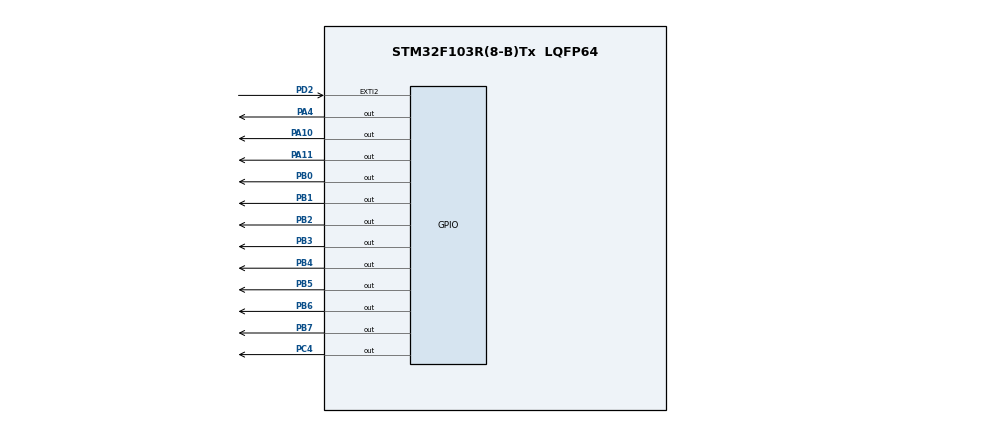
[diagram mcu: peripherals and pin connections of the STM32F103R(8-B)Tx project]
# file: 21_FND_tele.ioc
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Mcu.Family=STM32F1
Mcu.Name=STM32F103R(8-B)Tx
Mcu.Package=LQFP64
NVIC.EXTI2_IRQn=true\:0\:0\:false\:false\:true\:true\:true\:true
NVIC.PriorityGroup=NVIC_PRIORITYGROUP_4
PA10.Signal=GPIO_Output
PA11.Signal=GPIO_Output
PA13.Mode=Serial_Wire
PA13.Signal=SYS_JTMS-SWDIO
PA14.Mode=Serial_Wire
PA14.Signal=SYS_JTCK-SWCLK
PA4.Signal=GPIO_Output
PB0.Signal=GPIO_Output
PB1.Signal=GPIO_Output
PB2.Signal=GPIO_Output
PB3.Signal=GPIO_Output
PB4.Signal=GPIO_Output
PB5.Signal=GPIO_Output
PB6.Signal=GPIO_Output
PB7.Signal=GPIO_Output
PC4.Signal=GPIO_Output
PD2.GPIO_ModeDefaultEXTI=GPIO_MODE_IT_FALLING
PD2.Signal=GPXTI2
ProjectManager.HeapSize=0x200
ProjectManager.StackSize=0x400
ProjectManager.TargetToolchain=STM32CubeIDE
RCC.APB1Freq_Value=8000000
RCC.APB2Freq_Value=8000000
board=custom

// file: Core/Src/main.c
/* USER CODE BEGIN Header */
/**
  ******************************************************************************
  * @file           : main.c
  * @brief          : Main program body
  ******************************************************************************
  * @attention
  *
  * Copyright (c) 2023 STMicroelectronics.
  * All rights reserved.
  *
  * This software is licensed under terms that can be found in the LICENSE file
  * in the root directory of this software component.
  * If no LICENSE file comes with this software, it is provided AS-IS.
  *
  ******************************************************************************
  */
/* USER CODE END Header */
#include "main.h"

/* USER CODE BEGIN Includes */
#include <stdlib.h>
/* USER CODE END Includes */

/* USER CODE BEGIN PV */
uint8_t number[] = {0x3f, 0x06, 0x5b, 0x4f, 0x66, 0x6d, 0x7d, 0x07, 0x7f, 0x67};
uint8_t stop_flag = 0;
uint8_t random_1000, random_100, random_10, random_1;

/* USER CODE END PV */

void SystemClock_Config(void);
static void MX_GPIO_Init(void);

/* USER CODE BEGIN 0 */
typedef struct fnd{
	GPIO_TypeDef *port;
	uint16_t pin;
} FND;

FND value[8] ={
		{GPIOB, GPIO_PIN_0}, {GPIOB, GPIO_PIN_1},
		{GPIOB, GPIO_PIN_2}, {GPIOB, GPIO_PIN_3},
		{GPIOB, GPIO_PIN_4}, {GPIOB, GPIO_PIN_5},
		{GPIOB, GPIO_PIN_6}, {GPIOB, GPIO_PIN_7}
};

FND sel[4] ={
		{GPIOA, GPIO_PIN_10}, {GPIOA, GPIO_PIN_11},
		{GPIOC, GPIO_PIN_4}, {GPIOC, GPIO_PIN_3}
};

void display_fnd(uint8_t data, uint8_t position, uint32_t time) {
   int i;
   for(i = 0; i < 4; i++) {
      if(i == position) {
         HAL_GPIO_WritePin(sel[i].port, sel[i].pin, GPIO_PIN_SET);
      } else {
         HAL_GPIO_WritePin(sel[i].port, sel[i].pin, GPIO_PIN_RESET);
      }
   }
   for(i = 0; i < 8; i++) {
      if((data & (1 << i)) != 0){
         HAL_GPIO_WritePin(value[i].port, value[i].pin, GPIO_PIN_SET);
      } else {
         HAL_GPIO_WritePin(value[i].port, value[i].pin, GPIO_PIN_RESET);
      }
   }
   HAL_Delay(time);
}

/* USER CODE END 0 */

int main(void)
{

  /* MCU Configuration--------------------------------------------------------*/

  /* Reset of all peripherals, Initializes the Flash interface and the Systick. */
  HAL_Init();

  /* Configure the system clock */
  SystemClock_Config();

  /* Initialize all configured peripherals */
  MX_GPIO_Init();

  /* Infinite loop */
  /* USER CODE BEGIN WHILE */
  while (1)
  {
	  if(stop_flag == 0){
		  random_1000 = rand() % 10;
		  random_100 = rand() % 10;
		  random_10 = rand() % 10;
		  random_1 = rand() % 10;
	  }
	  display_fnd(number[random_1000], 3, 5);
	  display_fnd(number[random_100], 2, 5);
	  display_fnd(number[random_10], 1, 5);
	  display_fnd(number[random_1], 0, 5);
    /* USER CODE END WHILE */

  }
}

void SystemClock_Config(void)
{
  RCC_OscInitTypeDef RCC_OscInitStruct = {0};
  RCC_ClkInitTypeDef RCC_ClkInitStruct = {0};

  /** Initializes the RCC Oscillators according to the specified parameters
  * in the RCC_OscInitTypeDef structure.
  */
  RCC_OscInitStruct.OscillatorType = RCC_OSCILLATORTYPE_HSI;
  RCC_OscInitStruct.HSIState = RCC_HSI_ON;
  RCC_OscInitStruct.HSICalibrationValue = RCC_HSICALIBRATION_DEFAULT;
  RCC_OscInitStruct.PLL.PLLState = RCC_PLL_NONE;
  if (HAL_RCC_OscConfig(&RCC_OscInitStruct) != HAL_OK)
  {
    Error_Handler();
  }

  /** Initializes the CPU, AHB and APB buses clocks
  */
  RCC_ClkInitStruct.ClockType = RCC_CLOCKTYPE_HCLK|RCC_CLOCKTYPE_SYSCLK
                              |RCC_CLOCKTYPE_PCLK1|RCC_CLOCKTYPE_PCLK2;
  RCC_ClkInitStruct.SYSCLKSource = RCC_SYSCLKSOURCE_HSI;
  RCC_ClkInitStruct.AHBCLKDivider = RCC_SYSCLK_DIV1;
  RCC_ClkInitStruct.APB1CLKDivider = RCC_HCLK_DIV1;
  RCC_ClkInitStruct.APB2CLKDivider = RCC_HCLK_DIV1;

  if (HAL_RCC_ClockConfig(&RCC_ClkInitStruct, FLASH_LATENCY_0) != HAL_OK)
  {
    Error_Handler();
  }
}

static void MX_GPIO_Init(void)
{
  GPIO_InitTypeDef GPIO_InitStruct = {0};

  /* GPIO Ports Clock Enable */
  __HAL_RCC_GPIOA_CLK_ENABLE();
  __HAL_RCC_GPIOC_CLK_ENABLE();
  __HAL_RCC_GPIOB_CLK_ENABLE();
  __HAL_RCC_GPIOD_CLK_ENABLE();

  /*Configure GPIO pin Output Level */
  HAL_GPIO_WritePin(GPIOA, GPIO_PIN_4|GPIO_PIN_10|GPIO_PIN_11, GPIO_PIN_RESET);

  /*Configure GPIO pin Output Level */
  HAL_GPIO_WritePin(GPIOC, GPIO_PIN_4, GPIO_PIN_RESET);

  /*Configure GPIO pin Output Level */
  HAL_GPIO_WritePin(GPIOB, GPIO_PIN_0|GPIO_PIN_1|GPIO_PIN_2|GPIO_PIN_3
                          |GPIO_PIN_4|GPIO_PIN_5|GPIO_PIN_6|GPIO_PIN_7, GPIO_PIN_RESET);

  /*Configure GPIO pins : PA4 PA10 PA11 */
  GPIO_InitStruct.Pin = GPIO_PIN_4|GPIO_PIN_10|GPIO_PIN_11;
  GPIO_InitStruct.Mode = GPIO_MODE_OUTPUT_PP;
  GPIO_InitStruct.Pull = GPIO_NOPULL;
  GPIO_InitStruct.Speed = GPIO_SPEED_FREQ_LOW;
  HAL_GPIO_Init(GPIOA, &GPIO_InitStruct);

  /*Configure GPIO pin : PC4 */
  GPIO_InitStruct.Pin = GPIO_PIN_4;
  GPIO_InitStruct.Mode = GPIO_MODE_OUTPUT_PP;
  GPIO_InitStruct.Pull = GPIO_NOPULL;
  GPIO_InitStruct.Speed = GPIO_SPEED_FREQ_LOW;
  HAL_GPIO_Init(GPIOC, &GPIO_InitStruct);

  /*Configure GPIO pins : PB0 PB1 PB2 PB3
                           PB4 PB5 PB6 PB7 */
  GPIO_InitStruct.Pin = GPIO_PIN_0|GPIO_PIN_1|GPIO_PIN_2|GPIO_PIN_3
                          |GPIO_PIN_4|GPIO_PIN_5|GPIO_PIN_6|GPIO_PIN_7;
  GPIO_InitStruct.Mode = GPIO_MODE_OUTPUT_PP;
  GPIO_InitStruct.Pull = GPIO_NOPULL;
  GPIO_InitStruct.Speed = GPIO_SPEED_FREQ_LOW;
  HAL_GPIO_Init(GPIOB, &GPIO_InitStruct);

  /*Configure GPIO pin : PD2 */
  GPIO_InitStruct.Pin = GPIO_PIN_2;
  GPIO_InitStruct.Mode = GPIO_MODE_IT_FALLING;
  GPIO_InitStruct.Pull = GPIO_NOPULL;
  HAL_GPIO_Init(GPIOD, &GPIO_InitStruct);

  /* EXTI interrupt init*/
  HAL_NVIC_SetPriority(EXTI2_IRQn, 0, 0);
  HAL_NVIC_EnableIRQ(EXTI2_IRQn);

}

/* USER CODE BEGIN 4 */
void HAL_GPIO_EXTI_Callback(uint16_t GPIO_PIN){
	if(!HAL_GPIO_ReadPin(GPIOD, GPIO_PIN_2)){
		if(stop_flag == 1){
			stop_flag = 0;
		} else {
			stop_flag = 1;
		}
	}
}
/* USER CODE END 4 */

void Error_Handler(void)
{
  __disable_irq();
  while (1)
  {
  }
}
